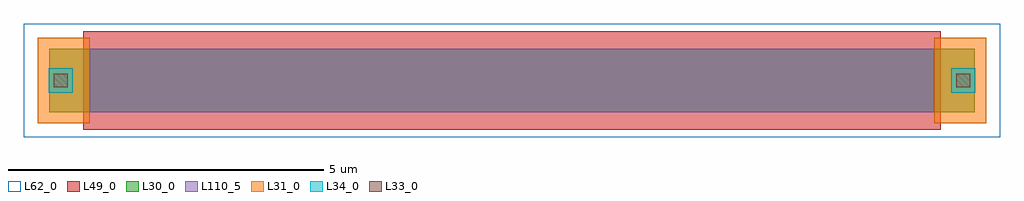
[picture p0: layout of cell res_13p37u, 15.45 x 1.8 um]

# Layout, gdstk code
import gdstk
lib = gdstk.Library(unit=1e-6, precision=5e-09)
def R(c, l, rs):  # rectangles x0, y0, x1, y1
    for r in rs: c.add(gdstk.rectangle(r[:2], r[2:], *l))
L30_0 = (30, 0)
L31_0 = (31, 0)
L33_0 = (33, 0)
L34_0 = (34, 0)
L49_0 = (49, 0)
L62_0 = (62, 0)
L110_5 = (110, 5)

res_13p37u = lib.new_cell('res_13p37u')
R(res_13p37u, L30_0, [(0.4,0.4,15.05,1.4)])
R(res_13p37u, L31_0, [(0.22,0.22,1.04,1.58), (14.41,0.22,15.23,1.58)])
R(res_13p37u, L33_0, [(0.47,0.79,0.69,1.01), (14.76,0.79,14.98,1.01)])
R(res_13p37u, L34_0, [(0.39,0.71,0.77,1.09), (14.68,0.71,15.06,1.09)])
R(res_13p37u, L49_0, [(0.94,0.12,14.51,1.68)])
R(res_13p37u, L62_0, [(0,0,15.45,1.8)])
R(res_13p37u, L110_5, [(1.04,0.4,14.41,1.4)])

lib.write_gds('res_13p37u.gds')
